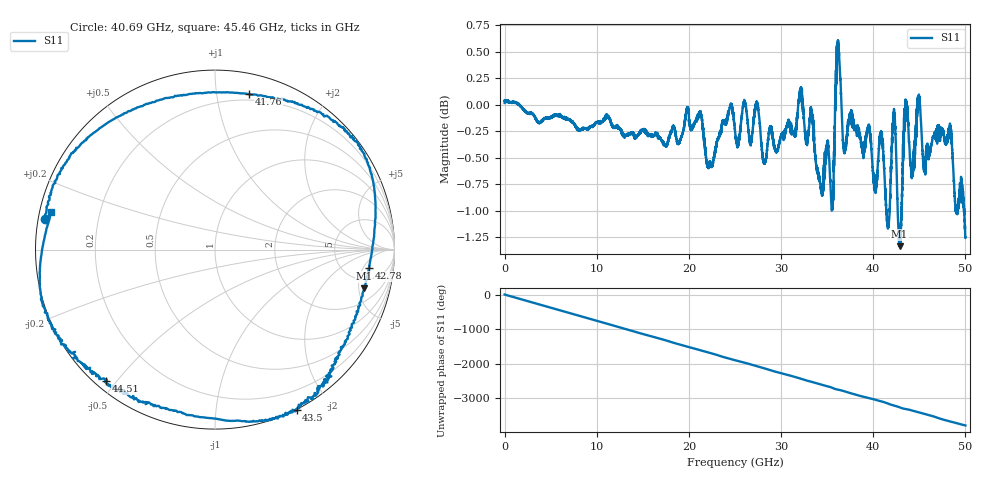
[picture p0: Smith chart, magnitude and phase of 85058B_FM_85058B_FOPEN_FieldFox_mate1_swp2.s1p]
!Created with skrf (http://scikit-rf.org).
# Hz S RI R 50.0
!freq ReS11 ImS11
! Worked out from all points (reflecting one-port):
!   10001 points, 300 kHz to 50 GHz, reference 50 ohm
!   lowest |S11| = -1.3 dB at 42.85 GHz (marker M1), VSWR 13.03, Z = 176 - j286 ohm
!   phase of S11 starts at 0 deg and turns -3778 deg over the sweep
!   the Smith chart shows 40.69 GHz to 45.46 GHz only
!   S11 on the Smith chart (normalised r, x): 40.69 GHz: 0.02, +0.09; 41.76 GHz: 0.15, +1.23; 42.78 GHz: 8, -7; 43.5 GHz: -0.00, -1.63; 44.51 GHz: 0.03, -0.47; 45.46 GHz: 0.03, +0.11
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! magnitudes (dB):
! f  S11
! 300 kHz  0.0
! 6.25 GHz  -0.1
! 12.5 GHz  -0.2
! 18.75 GHz  -0.4
! 21.2 GHz  -0.1
! 22.3 GHz  -0.6
! 25 GHz  -0.2
! 31.25 GHz  -0.3
! 32.15 GHz  0.1
! 35.49 GHz  -1.0
! 36.17 GHz  0.5
! 36.87 GHz  -0.4
! 37.5 GHz  -0.1
! 39.52 GHz  -0.2
! 40.18 GHz  -0.8
! 40.69 GHz  -0.3
! 41.76 GHz  -1.0
! 42.25 GHz  -0.1
! 42.78 GHz  -1.3
! 42.85 GHz  -1.3
! 43.5 GHz  0.0
! 43.75 GHz  -0.1
! 44.51 GHz  -0.4
! 44.97 GHz  0.0
! 45.46 GHz  -0.6
! 48.3 GHz  -0.2
! 48.98 GHz  -1.0
! 50 GHz  -1.3
